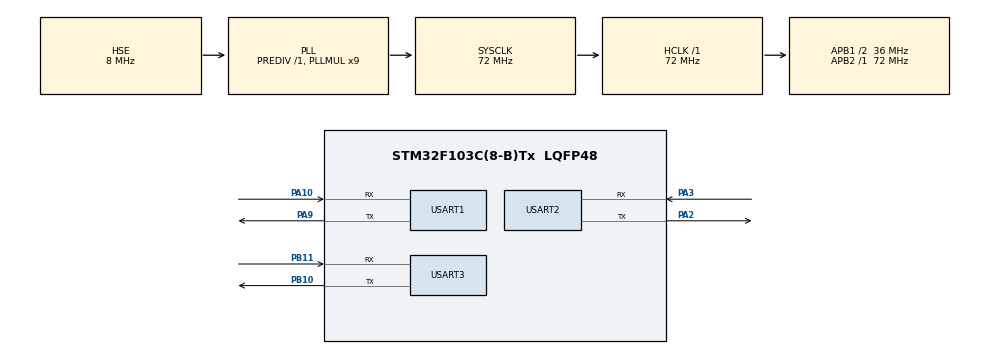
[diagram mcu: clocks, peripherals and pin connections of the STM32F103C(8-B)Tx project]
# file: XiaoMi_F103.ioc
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Mcu.Family=STM32F1
Mcu.Name=STM32F103C(8-B)Tx
Mcu.Package=LQFP48
NVIC.PriorityGroup=NVIC_PRIORITYGROUP_4
NVIC.USART1_IRQn=true\:0\:0\:false\:false\:true\:true\:true\:true
NVIC.USART2_IRQn=true\:0\:0\:false\:false\:true\:true\:true\:true
NVIC.USART3_IRQn=true\:0\:0\:false\:false\:true\:true\:true\:true
PA10.Mode=Asynchronous
PA10.Signal=USART1_RX
PA13.Mode=Serial_Wire
PA13.Signal=SYS_JTMS-SWDIO
PA14.Mode=Serial_Wire
PA14.Signal=SYS_JTCK-SWCLK
PA2.Mode=Asynchronous
PA2.Signal=USART2_TX
PA3.Mode=Asynchronous
PA3.Signal=USART2_RX
PA9.Mode=Asynchronous
PA9.Signal=USART1_TX
PB10.Mode=Asynchronous
PB10.Signal=USART3_TX
PB11.Mode=Asynchronous
PB11.Signal=USART3_RX
PD0-OSC_IN.Mode=HSE-External-Oscillator
PD0-OSC_IN.Signal=RCC_OSC_IN
PD1-OSC_OUT.Mode=HSE-External-Oscillator
PD1-OSC_OUT.Signal=RCC_OSC_OUT
ProjectManager.HeapSize=0x200
ProjectManager.StackSize=0x400
ProjectManager.TargetToolchain=MDK-ARM V5.32
RCC.AHBFreq_Value=72000000
RCC.APB1CLKDivider=RCC_HCLK_DIV2
RCC.APB1Freq_Value=36000000
RCC.APB1TimFreq_Value=72000000
RCC.APB2Freq_Value=72000000
RCC.APB2TimFreq_Value=72000000
RCC.HCLKFreq_Value=72000000
RCC.PLLMUL=RCC_PLL_MUL9
RCC.PLLSourceVirtual=RCC_PLLSOURCE_HSE
RCC.SYSCLKFreq_VALUE=72000000
RCC.SYSCLKSource=RCC_SYSCLKSOURCE_PLLCLK
RCC.USBFreq_Value=72000000
USART1.VirtualMode=VM_ASYNC
USART2.VirtualMode=VM_ASYNC
USART3.VirtualMode=VM_ASYNC
board=custom

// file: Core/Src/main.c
/* USER CODE BEGIN Header */
/**
  ******************************************************************************
  * @file           : main.c
  * @brief          : Main program body
  ******************************************************************************
  * @attention
  *
  * Copyright (c) 2026 STMicroelectronics.
  * All rights reserved.
  *
  * This software is licensed under terms that can be found in the LICENSE file
  * in the root directory of this software component.
  * If no LICENSE file comes with this software, it is provided AS-IS.
  *
  ******************************************************************************
  */
/* USER CODE END Header */
#include "main.h"
#include "usart.h"
#include "gpio.h"

/* USER CODE BEGIN Includes */
#include "user_printf.h"
#include "xiaomi_smart_screen_circular_bufferc.h"
#include "xiaomi_smart_screen_86box_buffer.h"
#include "knx_protocol_uart.h"
#include "hf_zxk_modbus_circular_buffer.h"
#include "hf_zjk_modbus_circular_buffer.h"
#include "hooch_protocol.h"
#include "mcu_api.h"
#include "hooch_lcd_probe.h"

/* CLI驱动外部函数声明 */
extern void Hooch_CLI_Init(void);
extern void Hooch_CLI_Process(void);
/* USER CODE END Includes */

void SystemClock_Config(void);

void HOOCH_PROTOCOL_KeyStatusReport_Process(const HOOCH_PROTOCOL_KeyStatusFrame_t *frame);
void HOOCH_PROTOCOL_Setting_Process(const HOOCH_PROTOCOL_SettingFrame_t *frame);
void HOOCH_PROTOCOL_KeyName_Process(const HOOCH_PROTOCOL_KeyNameFrame_t *frame);
void HOOCH_PROTOCOL_KeyMode_Process(const HOOCH_PROTOCOL_KeyModeFrame_t *frame);
void HOOCH_PROTOCOL_AirConditioner_Process(const HOOCH_PROTOCOL_AirConditionerFrame_t *frame);
void HOOCH_PROTOCOL_FloorHeating_Process(const HOOCH_PROTOCOL_FloorHeatingFrame_t *frame);
void HOOCH_PROTOCOL_FreshAir_Process(const HOOCH_PROTOCOL_FreshAirFrame_t *frame);
void HOOCH_PROTOCOL_DimmerLight_Process(const HOOCH_PROTOCOL_DimmerLightFrame_t *frame);
void HOOCH_PROTOCOL_Curtain_Process(const HOOCH_PROTOCOL_CurtainFrame_t *frame);
void HOOCH_PROTOCOL_CodeMatchDispatch_Process(const HOOCH_PROTOCOL_CodeMatchReportFrame_t *frame);
void HOOCH_PROTOCOL_SceneDispatch_Process(const HOOCH_PROTOCOL_SceneDispatchFrame_t *frame);
void HOOCH_PROTOCOL_Relay_Process(const HOOCH_PROTOCOL_RelayFrame_t *frame);
int main(void)
{

  /* MCU Configuration--------------------------------------------------------*/

  /* Reset of all peripherals, Initializes the Flash interface and the Systick. */
  HAL_Init();

  /* Configure the system clock */
  SystemClock_Config();

  /* Initialize all configured peripherals */
  MX_GPIO_Init();
  MX_USART1_UART_Init();
  MX_USART2_UART_Init();
  MX_USART3_UART_Init();
  /* USER CODE BEGIN 2 */

  // 清除USART2所有中断标志，防止误触发
  __HAL_UART_CLEAR_FLAG(&huart2, UART_FLAG_RXNE | UART_FLAG_ORE | UART_FLAG_FE | UART_FLAG_NE);

  // 使能RXNE接收中断
  __HAL_UART_ENABLE_IT(&huart2, UART_IT_RXNE);

  // 初始化日志模块
  Log_Init();

  // 初始化小米UART协议解析模块（v1 旧屏协议, 与 86 盒子协议互斥）
  // xiaoni_smart_screen_uart_init();

  // 初始化小米 86 盒子全面屏模组协议解析模块
  xiaomi_86box_uart_init();

  // 初始化 KNX 面板协议解析模块
  // 注意：KNX 与小米协议共享 USART2，在 USART2 中断中会把每个字节同时喂给两套解析器
  // knx_uart_init();
  // extern void tuya_uart_init(void);
  // 86 盒子全面屏模组与 Tuya 共用 HOOCH 上报回调槽位, 同时开启会互相覆盖,
  // 当前调试 86 盒子模组时先关闭 Tuya。
  // tuya_uart_init();
  // 初始化 BLE 协议解析模块
  // BLE 也复用 USART2 字节流，在中断中并行喂入 BLE 状态机。
  // ble_uart_init();

  // 初始化线控器 MODBUS-RTU 协议解析模块（同样复用 USART2 字节流）
 // hf_zxk_modbus_uart_init();

  // 初始化集控器 自定义485 协议解析模块（同样复用 USART2 字节流，与线控器并行解析）
 // hf_zjk_modbus_uart_init();

  // 开机打印
  LOG_INFO("========================================\r\n");
  LOG_INFO("  XiaoMi F103 System Startup\r\n");
  LOG_INFO("  MCU: STM32F103\r\n");
  LOG_INFO("  SysClock: 72MHz\r\n");
  LOG_INFO("  UART1: 115200 (Log)\r\n");
  LOG_INFO("  UART2: 115200 (Communication)\r\n");
  LOG_INFO("  UART3: 115200\r\n");
  LOG_INFO("========================================\r\n");

  // // 上电初始化 LCD 面板（复位 + 单线写下发初始化表），再读取寄存器识别屏幕型号
  // hooch_lcd_probe_init();
   //(void)hooch_lcd_probe_detect();

  // 初始化CLI命令行
  Hooch_CLI_Init();
  HOOCH_PROTOCOL_KeyStatus_RegisterCallback(HOOCH_PROTOCOL_KeyStatusReport_Process);

  HOOCH_PROTOCOL_Setting_RegisterCallback(HOOCH_PROTOCOL_Setting_Process);
  HOOCH_PROTOCOL_KeyName_RegisterCallback(HOOCH_PROTOCOL_KeyName_Process);
  HOOCH_PROTOCOL_KeyMode_RegisterCallback(HOOCH_PROTOCOL_KeyMode_Process);
  HOOCH_PROTOCOL_AirConditioner_RegisterCallback(HOOCH_PROTOCOL_AirConditioner_Process);
  HOOCH_PROTOCOL_FloorHeating_RegisterCallback(HOOCH_PROTOCOL_FloorHeating_Process);
  HOOCH_PROTOCOL_FreshAir_RegisterCallback(HOOCH_PROTOCOL_FreshAir_Process);

  HOOCH_PROTOCOL_Curtain_RegisterCallback(HOOCH_PROTOCOL_Curtain_Process);
  HOOCH_PROTOCOL_CodeMatchDispatch_RegisterCallback(HOOCH_PROTOCOL_CodeMatchDispatch_Process);
  HOOCH_PROTOCOL_SceneDispatch_RegisterCallback(HOOCH_PROTOCOL_SceneDispatch_Process);
  HOOCH_PROTOCOL_DimmerLight_RegisterCallback(HOOCH_PROTOCOL_DimmerLight_Process);
  HOOCH_PROTOCOL_Relay_RegisterCallback(HOOCH_PROTOCOL_Relay_Process);

  /* Infinite loop */
  /* USER CODE BEGIN WHILE */

  HOOCH_PROTOCOL_UnsupportedAttribute_SendAttributes(
    HOOCH_PROTOCOL_UNSUPPORTED_ATTRIBUTE_AIR_CONDITIONER,            /* bit0 空调 */
    HOOCH_PROTOCOL_UNSUPPORTED_ATTRIBUTE_FRESH_AIR,                  /* bit1 新风 */
    HOOCH_PROTOCOL_UNSUPPORTED_ATTRIBUTE_FLOOR_HEATING,              /* bit2 地暖 */
    HOOCH_PROTOCOL_UNSUPPORTED_ATTRIBUTE_TEMPERATURE,                /* bit3 温度 */
    // HOOCH_PROTOCOL_UNSUPPORTED_ATTRIBUTE_HUMIDITY,                   /* bit4 湿度 */
    // HOOCH_PROTOCOL_UNSUPPORTED_ATTRIBUTE_HUMAN_PRESENCE_SENSITIVITY, /* bit5 人感灵敏度 */
    // HOOCH_PROTOCOL_UNSUPPORTED_ATTRIBUTE_VIBRATION,                  /* bit6 震动 */
    // HOOCH_PROTOCOL_UNSUPPORTED_ATTRIBUTE_WALLPAPER,                  /* bit7 换壁纸 */
    // HOOCH_PROTOCOL_UNSUPPORTED_ATTRIBUTE_RELAY_CH5_TO_CH8,           /* bit8 5-8 路继电器 */
    // HOOCH_PROTOCOL_UNSUPPORTED_ATTRIBUTE_AMBIENCE_LIGHT,             /* bit9 氛围灯 */
    HOOCH_PROTOCOL_UNSUPPORTED_ATTRIBUTE_NONE);                      /* 列表结束 */

  while (1)
  {
    /* USER CODE END WHILE */
    // Tuya 协议暂时关闭, 与 86 盒子模组不能同时使用
    // uart_service_parse();
    // 处理小米UART协议帧解析
    //xiaoni_smart_screen_uart_process();

    // 处理小米 86 盒子全面屏模组协议帧解析
    xiaomi_86box_uart_process();

    // 处理 KNX 面板协议帧解析（与小米协议并行解析同一串口字节流）
  //  knx_uart_process();

    // 处理线控器 MODBUS-RTU 协议帧解析（与以上各协议并行解析同一串口字节流）
   // hf_zxk_modbus_uart_process();

    // 处理集控器 自定义485 协议帧解析（与以上各协议并行解析同一串口字节流）
  //  hf_zjk_modbus_uart_process();

    // 处理 Tuya Zigbee UART 协议帧解析
    // 处理CLI命令
    Hooch_CLI_Process();

    HAL_Delay(20);
  }
  /* USER CODE END 3 */
}

void SystemClock_Config(void)
{
  RCC_OscInitTypeDef RCC_OscInitStruct = {0};
  RCC_ClkInitTypeDef RCC_ClkInitStruct = {0};

  /** Initializes the RCC Oscillators according to the specified parameters
  * in the RCC_OscInitTypeDef structure.
  */
  RCC_OscInitStruct.OscillatorType = RCC_OSCILLATORTYPE_HSE;
  RCC_OscInitStruct.HSEState = RCC_HSE_ON;
  RCC_OscInitStruct.HSEPredivValue = RCC_HSE_PREDIV_DIV1;
  RCC_OscInitStruct.HSIState = RCC_HSI_ON;
  RCC_OscInitStruct.PLL.PLLState = RCC_PLL_ON;
  RCC_OscInitStruct.PLL.PLLSource = RCC_PLLSOURCE_HSE;
  RCC_OscInitStruct.PLL.PLLMUL = RCC_PLL_MUL9;
  if (HAL_RCC_OscConfig(&RCC_OscInitStruct) != HAL_OK)
  {
    Error_Handler();
  }

  /** Initializes the CPU, AHB and APB buses clocks
  */
  RCC_ClkInitStruct.ClockType = RCC_CLOCKTYPE_HCLK|RCC_CLOCKTYPE_SYSCLK
                              |RCC_CLOCKTYPE_PCLK1|RCC_CLOCKTYPE_PCLK2;
  RCC_ClkInitStruct.SYSCLKSource = RCC_SYSCLKSOURCE_PLLCLK;
  RCC_ClkInitStruct.AHBCLKDivider = RCC_SYSCLK_DIV1;
  RCC_ClkInitStruct.APB1CLKDivider = RCC_HCLK_DIV2;
  RCC_ClkInitStruct.APB2CLKDivider = RCC_HCLK_DIV1;

  if (HAL_RCC_ClockConfig(&RCC_ClkInitStruct, FLASH_LATENCY_2) != HAL_OK)
  {
    Error_Handler();
  }
}

void Error_Handler(void)
{
  __disable_irq();
  while (1)
  {
  }
}

void HOOCH_PROTOCOL_Curtain_Process(const HOOCH_PROTOCOL_CurtainFrame_t *frame)
{
  if (frame == NULL)
  {
    LOG_INFO("[HOOCH] Curtain callback: frame is NULL\r\n");
    return;
  }

  LOG_INFO("[HOOCH] Curtain switch_status=%u, stop=%u, percent=%u, angle=%u, control_item=%u, valid=%u\r\n",
           (unsigned int)frame->switch_status.value,
           (unsigned int)frame->stop.value,
           (unsigned int)frame->percent.value,
           (unsigned int)frame->angle.value,
           (unsigned int)frame->control_item,
           (unsigned int)frame->valid);
}
void HOOCH_PROTOCOL_SceneDispatch_Process(const HOOCH_PROTOCOL_SceneDispatchFrame_t *frame)
{
  if (frame == NULL)
  {
    LOG_INFO("[HOOCH] SceneDispatch callback: frame is NULL\r\n");
    return;
  }

  LOG_INFO("[HOOCH] SceneDispatch scene=%u, sequence=%u, valid=%u item=%u, value=%u\r\n",
           (unsigned int)frame->scene,
           (unsigned int)frame->sequence,
           (unsigned int)frame->valid,
           (unsigned int)frame->control_item,
           (unsigned int)frame->value
          );
}
void HOOCH_PROTOCOL_AirConditioner_Process(const HOOCH_PROTOCOL_AirConditionerFrame_t *frame)
{
  if (frame == NULL)
  {
    LOG_INFO("[HOOCH] AirConditioner callback: frame is NULL\r\n");
    return;
  }

  LOG_INFO("[HOOCH] AirConditioner ch=%u addr=%u src=%u item=%u power=%u mode=%u fan=%u temp=%u cur_temp=%u value=%u seq=%u valid=%u desc=%.*s\r\n",
           (unsigned int)frame->channel,
           (unsigned int)frame->address,
           (unsigned int)frame->source,
           (unsigned int)frame->control_item,
           (unsigned int)frame->power,
           (unsigned int)frame->mode,
           (unsigned int)frame->fan_speed,
           (unsigned int)frame->temperature,
           (unsigned int)frame->current_temperature,
           (unsigned int)frame->value,
           (unsigned int)frame->sequence,
           (unsigned int)frame->valid,
           (int)sizeof(frame->device_desc),
           (const char *)frame->device_desc);
}
void HOOCH_PROTOCOL_FloorHeating_Process(const HOOCH_PROTOCOL_FloorHeatingFrame_t *frame)
{
  if (frame == NULL)
  {
    LOG_INFO("[HOOCH] FloorHeating callback: frame is NULL\r\n");
    return;
  }

  LOG_INFO("[HOOCH] FloorHeating channel=%u, power=%u, mode=%u, target_temp=%u, current_temp=%u, control_item=%u, sequence=%u, valid=%u\r\n",
           (unsigned int)frame->channel,
           (unsigned int)frame->power,
           (unsigned int)frame->mode,
           (unsigned int)frame->target_temperature,
           (unsigned int)frame->current_temperature,
           (unsigned int)frame->control_item,
           (unsigned int)frame->sequence,
           (unsigned int)frame->valid);
}
void HOOCH_PROTOCOL_FreshAir_Process(const HOOCH_PROTOCOL_FreshAirFrame_t *frame)
{
  if (frame == NULL)
  {
    LOG_INFO("[HOOCH] FreshAir callback: frame is NULL\r\n");
    return;
  }

  LOG_INFO("[HOOCH] FreshAir channel=%u, power=%u, mode=%u, fan_speed=%u, control_item=%u, sequence=%u, valid=%u\r\n",
           (unsigned int)frame->channel,
           (unsigned int)frame->power,
           (unsigned int)frame->mode,
           (unsigned int)frame->fan_speed,
           (unsigned int)frame->control_item,
           (unsigned int)frame->sequence,
           (unsigned int)frame->valid);
}
void HOOCH_PROTOCOL_DimmerLight_Process(const HOOCH_PROTOCOL_DimmerLightFrame_t *frame)
{
  if (frame == NULL)
  {
    LOG_INFO("[HOOCH] DimmerLight callback: frame is NULL\r\n");
    return;
  }

  LOG_INFO("[HOOCH] DimmerLight brightness=%u, color_temperature=%u, switch_state=%u, control_item=%u, sequence=%u, valid=%u\r\n",
           (unsigned int)frame->brightness,
           (unsigned int)frame->color_temperature,
           (unsigned int)frame->switch_state,
           (unsigned int)frame->control_item,
           (unsigned int)frame->sequence,
           (unsigned int)frame->valid);
}

void HOOCH_PROTOCOL_Relay_Process(const HOOCH_PROTOCOL_RelayFrame_t *frame)
{
  if (frame == NULL)
  {
    LOG_INFO("[HOOCH] Relay callback: frame is NULL\r\n");
    return;
  }

  LOG_INFO("[HOOCH] Relay channel=%u, switch_state=%u, control_item=%u, value=%u, sequence=%u, valid=%u\r\n",
           (unsigned int)frame->channel,
           (unsigned int)frame->switch_state,
           (unsigned int)frame->control_item,
           (unsigned int)frame->value,
           (unsigned int)frame->sequence,
           (unsigned int)frame->valid);
}

void HOOCH_PROTOCOL_KeyStatusReport_Process(const HOOCH_PROTOCOL_KeyStatusFrame_t *frame)
{
  if (frame == NULL)
  {
    LOG_INFO("[HOOCH] KeyStatus callback: frame is NULL\r\n");
    return;
  }

  LOG_INFO("[HOOCH] KeyStatus key=%u, state=%u, control_item=%u, sequence=%u, valid=%u\r\n",
           (unsigned int)frame->key,
           (unsigned int)frame->state,
           (unsigned int)frame->control_item,
           (unsigned int)frame->sequence,
           (unsigned int)frame->valid);
}

void HOOCH_PROTOCOL_Setting_Process(const HOOCH_PROTOCOL_SettingFrame_t *frame)
{
  if (frame == NULL)
  {
    LOG_INFO("[HOOCH] Setting callback: frame is NULL\r\n");
    return;
  }

  /* 页面管理的拆分项(PAGE_MGR 5 字节拆成 5 帧)不逐条打印, 由 Tuya 层一行汇总 */
  if (frame->item != HOOCH_PROTOCOL_SETTING_ITEM_ADD_PAGE &&
      frame->item != HOOCH_PROTOCOL_SETTING_ITEM_DELETE_PAGE)
  {
    LOG_INFO("[HOOCH] Setting item=%u, value=%u, page=%u, sequence=%u, valid=%u, screen_off_time_type=%u\r\n",
             (unsigned int)frame->item,
             (unsigned int)frame->value,
             (unsigned int)frame->page,
             (unsigned int)frame->sequence,
             (unsigned int)frame->valid,
            (unsigned int)frame->screen_off_time_type);
  }

  if (frame->item == HOOCH_PROTOCOL_SETTING_ITEM_KEY_JOG_TIME)
  {
    /* JOG_TIME: value=按键(1-based), param1=常开/常闭(涂鸦值取反), param2=点动时间(ms) */
    LOG_INFO("[HOOCH] JogTime key=%u mode=%u time=%ums\r\n",
             (unsigned int)frame->value,
             (unsigned int)frame->param1,
             (unsigned int)frame->param2);
  }

  if (frame->item == HOOCH_PROTOCOL_SETTING_ITEM_MULTICAST_GROUP_ID)
  {
    /* 组播ID: value=按键通道(1-based), param1/param2=组播ID(uint16 BE) */
    unsigned short gid = ((unsigned short)frame->param1 << 8) | frame->param2;
    LOG_INFO("[HOOCH] MulticastGroup key=%u gid=0x%04X (%u)\r\n",
             (unsigned int)frame->value,
             (unsigned int)gid,
             (unsigned int)gid);
  }

}

void HOOCH_PROTOCOL_KeyName_Process(const HOOCH_PROTOCOL_KeyNameFrame_t *frame)
{
  if (frame == NULL)
  {
    LOG_INFO("[HOOCH] KeyName callback: frame is NULL\r\n");
    return;
  }

  LOG_INFO("[HOOCH] KeyName key=%u, icon=%u, page=%u, delivery=%u, name=%s, sequence=%u, valid=%u\r\n",
           (unsigned int)frame->key,
           (unsigned int)frame->icon_index,
           (unsigned int)frame->page,
           (unsigned int)frame->delivery,
           frame->name,
           (unsigned int)frame->sequence,
           (unsigned int)frame->valid);
}

void HOOCH_PROTOCOL_KeyMode_Process(const HOOCH_PROTOCOL_KeyModeFrame_t *frame)
{
  if (frame == NULL)
  {
    LOG_INFO("[HOOCH] KeyMode callback: frame is NULL\r\n");
    return;
  }

  LOG_INFO("[HOOCH] KeyMode key=%u, power_on_status=%u, type=%u, sequence=%u, valid=%u\r\n",
           (unsigned int)frame->key,
           (unsigned int)frame->power_on_status,
           (unsigned int)frame->type,
           (unsigned int)frame->sequence,
           (unsigned int)frame->valid);
}

void HOOCH_PROTOCOL_CodeMatchDispatch_Process(const HOOCH_PROTOCOL_CodeMatchReportFrame_t *frame)
{
  if (frame == NULL)
  {
    LOG_INFO("[HOOCH] CodeMatch callback: frame is NULL\r\n");
    return;
  }

  /*
   * 根据 page 区分 channel 的解析规则：
   *   开关页面(0x00): channel 高4bit=按键索引(0~3), 低4bit=模式(0=调光, 1=窗帘)
   *   其他页面:     channel 为顺序子项索引
   */
  if (frame->page == 0x00U)
  {
    uint8_t key  = (frame->channel >> 4) + 1U;      /* 按键1~4 */
    uint8_t mode = frame->channel & 0x0FU;           /* 0=调光, 1=窗帘 */
    const char *mode_str = (mode == 0U) ? "DIMMER" : "CURTAIN";

    LOG_INFO("[HOOCH] CodeMatch page=SWITCH, key=%u, mode=%s, action=%s, seq=%u, valid=%u\r\n",
             (unsigned int)key,
             mode_str,
             (frame->action == HOOCH_PROTOCOL_CODE_MATCH_REPORT_ACTION_MATCH) ? "MATCH" : "CLEAR",
             (unsigned int)frame->sequence,
             (unsigned int)frame->valid);
  }
  else
  {
    const char *page_str;
    switch (frame->page)
    {
      case 0x02U: page_str = "LIGHT";    break;
      case 0x03U: page_str = "CURTAIN";  break;
      case 0x04U: page_str = "AC";       break;
      default:    page_str = "UNKNOWN";  break;
    }

    LOG_INFO("[HOOCH] CodeMatch page=%s, channel=%u, action=%s, seq=%u, valid=%u\r\n",
             page_str,
             (unsigned int)frame->channel,
             (frame->action == HOOCH_PROTOCOL_CODE_MATCH_REPORT_ACTION_MATCH) ? "MATCH" : "CLEAR",
             (unsigned int)frame->sequence,
             (unsigned int)frame->valid);
  }
}
